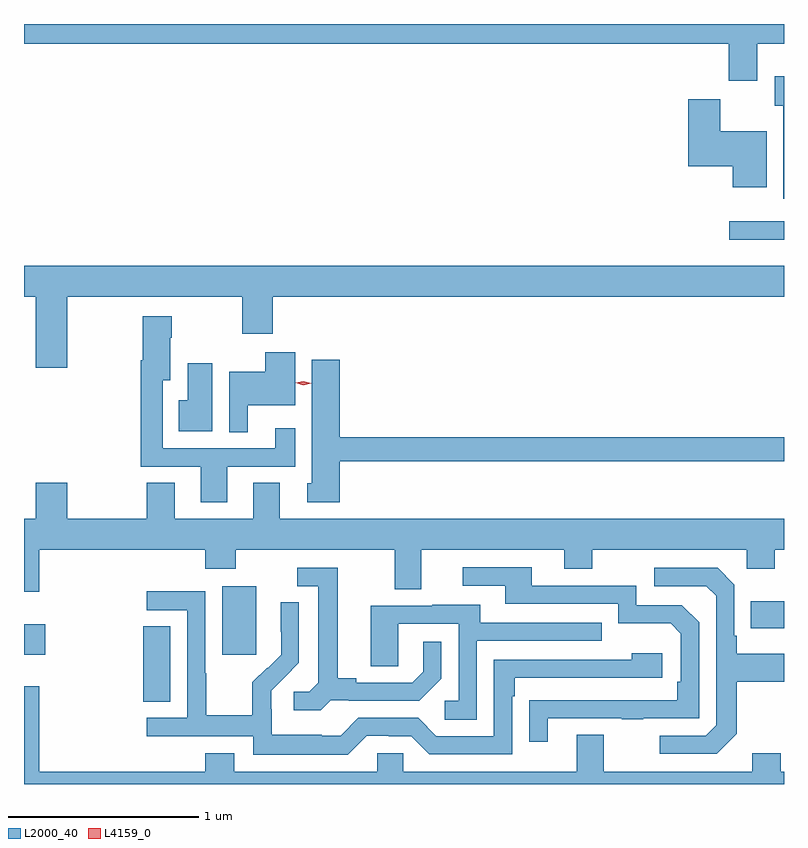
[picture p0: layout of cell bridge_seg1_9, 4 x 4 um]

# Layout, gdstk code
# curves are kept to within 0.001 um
import gdstk
lib = gdstk.Library(unit=1e-6, precision=1e-09)
def R(c, l, rs):  # rectangles x0, y0, x1, y1
    for r in rs: c.add(gdstk.rectangle(r[:2], r[2:], *l))
def P(c, l, *ps):  # polygons
    for p in ps: c.add(gdstk.Polygon(p, *l))
L2000_40 = (2000, 40)
L4159_0 = (4159, 0)

bridge_seg1_9 = lib.new_cell('bridge_seg1_9')
R(bridge_seg1_9, L2000_40, [(633.104,538.945,633.247,539.342), (632.477,539.192,632.59,539.353), (633.521,539.193,633.7,539.554), (636.301,539.333,636.477,539.473), (636.189,541.376,636.477,541.473)])
P(bridge_seg1_9, L2000_40, [(632.477,542.408),(636.185,542.408),(636.185,542.214),(636.337,542.214),(636.337,542.408),(636.477,542.408),(636.477,542.512),(632.477,542.512)],
  [(636.477,542.236),(636.428,542.236),(636.428,542.082),(636.473,542.082),(636.473,541.593),(636.477,541.593)],
  [(636.385,541.948),(636.142,541.948),(636.142,542.116),(635.972,542.116),(635.972,541.763),(636.206,541.763),(636.206,541.652),(636.385,541.652)],
  [(632.704,541.076),(633.625,541.076),(633.625,540.882),(633.785,540.882),(633.785,541.076),(636.477,541.076),(636.477,541.24),(632.477,541.24),(632.477,541.076),(632.54,541.076),(632.54,540.702),(632.704,540.702)],
  [(633.547,540.183),(633.904,540.183),(633.904,540.385),(633.8,540.385),(633.8,540.279),(633.207,540.279),(633.207,540.638),(633.247,540.638),(633.247,540.86),(633.255,540.86),(633.255,540.973),(633.103,540.973),(633.103,540.742),(633.091,540.742),(633.091,540.183),(633.407,540.183),(633.407,539.994),(633.547,539.994)],
  [(633.655,540.506),(633.904,540.506),(633.904,540.784),(633.746,540.784),(633.746,540.682),(633.558,540.682),(633.558,540.364),(633.655,540.364)],
  [(634.139,540.21),(636.477,540.21),(636.477,540.338),(634.139,540.338),(634.139,540.745),(633.992,540.745),(633.992,540.096),(633.968,540.096),(633.968,539.994),(634.139,539.994)],
  [(633.469,540.727),(633.338,540.727),(633.338,540.533),(633.292,540.533),(633.292,540.368),(633.469,540.368)],
  [(632.557,539.744),(633.431,539.744),(633.431,539.645),(633.591,539.645),(633.591,539.744),(634.427,539.744),(634.427,539.536),(634.567,539.536),(634.567,539.744),(635.321,539.744),(635.321,539.645),(635.469,539.645),(635.469,539.744),(636.282,539.744),(636.282,539.645),(636.429,539.645),(636.429,539.744),(636.477,539.744),(636.477,539.908),(633.823,539.908),(633.823,540.098),(633.683,540.098),(633.683,539.908),(633.271,539.908),(633.271,540.098),(633.124,540.098),(633.124,539.908),(632.704,539.908),(632.704,540.097),(632.54,540.097),(632.54,539.908),(632.477,539.908),(632.477,539.523),(632.557,539.523)],
  [(635.233,538.857),(635.623,538.857),(635.623,538.852),(635.735,538.852),(635.735,538.857),(636.03,538.857),(636.03,539.364),(635.94,539.454),(635.7,539.454),(635.7,539.556),(635.149,539.556),(635.149,539.652),(634.785,539.652),(634.785,539.556),(635.009,539.556),(635.009,539.46),(635.604,539.46),(635.604,539.357),(635.881,539.357),(635.934,539.304),(635.934,539.05),(635.914,539.05),(635.914,538.953),(635.137,538.952),(635.137,538.734),(635.233,538.734)],
  [(634.092,538.953),(634.186,538.953),(634.186,538.95),(634.558,538.95),(634.674,539.066),(634.674,539.26),(634.577,539.26),(634.577,539.103),(634.52,539.046),(634.225,539.046),(634.225,539.069),(634.129,539.069),(634.129,539.649),(633.915,539.649),(633.915,539.553),(634.025,539.553),(634.025,539.045),(633.978,538.998),(633.897,538.998),(633.897,538.901),(634.04,538.901)],
  [(636.229,538.777),(636.229,539.05),(636.477,539.05),(636.477,539.197),(636.229,539.197),(636.229,539.293),(636.216,539.293),(636.216,539.562),(636.129,539.649),(635.793,539.649),(635.793,539.553),(636.069,539.553),(636.12,539.502),(636.12,538.821),(636.066,538.767),(635.823,538.767),(635.823,538.671),(636.123,538.671)],
  [(634.281,538.767),(634.397,538.767),(634.397,538.764),(634.515,538.764),(634.611,538.668),(635.046,538.668),(635.046,538.973),(635.059,538.973),(635.059,539.07),(635.836,539.07),(635.836,539.2),(635.675,539.2),(635.675,539.166),(634.95,539.166),(634.95,538.764),(634.647,538.764),(634.551,538.86),(634.236,538.86),(634.143,538.767),(634.043,538.767),(634.043,538.771),(633.78,538.771),(633.78,538.905),(633.778,538.905),(633.778,539.002),(633.924,539.15),(633.924,539.468),(633.828,539.468),(633.828,539.314),(633.83,539.314),(633.83,539.192),(633.759,539.121),(633.756,539.124),(633.679,539.047),(633.679,538.873),(633.435,538.873),(633.435,539.096),(633.432,539.096),(633.432,539.526),(633.123,539.526),(633.123,539.427),(633.336,539.427),(633.336,538.86),(633.123,538.86),(633.123,538.764),(633.684,538.764),(633.684,538.667),(634.181,538.667)],
  [(634.86,539.265),(635.519,539.265),(635.519,539.361),(634.879,539.361),(634.879,539.455),(634.625,539.455),(634.625,539.451),(634.301,539.451),(634.301,539.131),(634.446,539.131),(634.446,539.355),(634.764,539.355),(634.764,538.95),(634.692,538.95),(634.692,538.849),(634.86,538.849)],
  [(636.477,538.576),(636.459,538.576),(636.459,538.675),(636.311,538.675),(636.311,538.576),(635.527,538.576),(635.527,538.771),(635.387,538.771),(635.387,538.576),(634.473,538.576),(634.473,538.674),(634.335,538.674),(634.335,538.576),(633.583,538.576),(633.583,538.675),(633.431,538.675),(633.431,538.576),(632.557,538.576),(632.557,539.026),(632.477,539.026),(632.477,538.512),(636.477,538.512)])
P(bridge_seg1_9, L4159_0, [(633.948,540.612),(633.907,540.623),(633.907,540.623),(633.907,540.623),(633.948,540.632),(633.989,540.621),(633.989,540.621),(633.989,540.621)])

lib.write_gds('bridge_seg1_9.gds')
